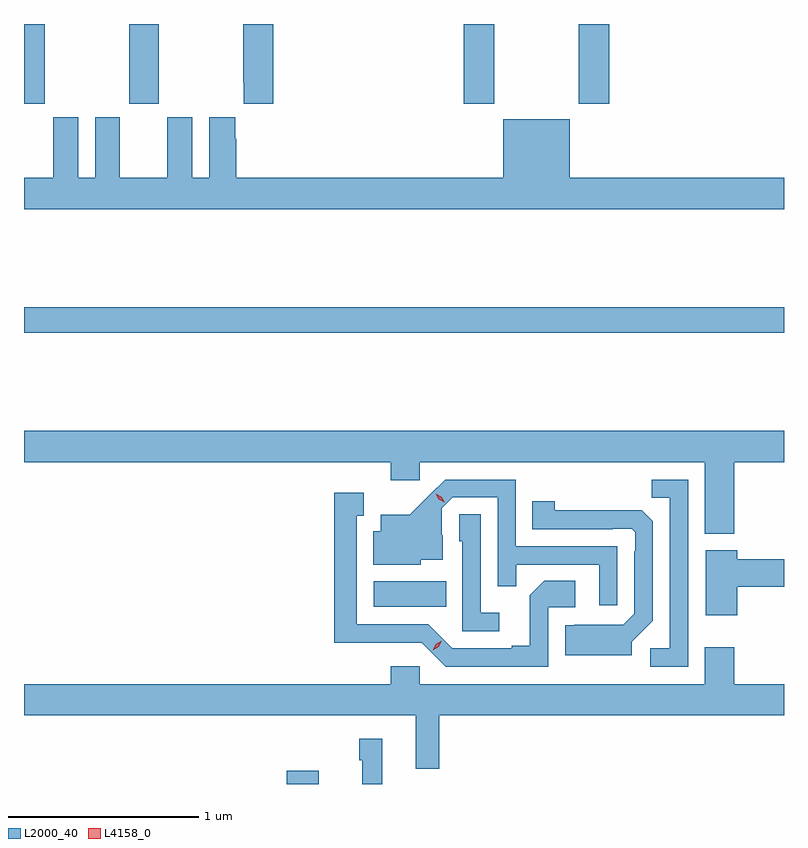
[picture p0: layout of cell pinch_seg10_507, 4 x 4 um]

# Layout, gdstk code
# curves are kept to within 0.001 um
import gdstk
lib = gdstk.Library(unit=1e-6, precision=1e-09)
def R(c, l, rs):  # rectangles x0, y0, x1, y1
    for r in rs: c.add(gdstk.rectangle(r[:2], r[2:], *l))
def P(c, l, *ps):  # polygons
    for p in ps: c.add(gdstk.Polygon(p, *l))
L2000_40 = (2000, 40)
L4158_0 = (4158, 0)

pinch_seg10_507 = lib.new_cell('pinch_seg10_507')
R(pinch_seg10_507, L2000_40, [(228.38,1263.99,228.55,1264.06), (228.84,1264.922,229.22,1265.056), (226.998,1266.364,230.998,1266.5), (226.998,1267.569,227.106,1267.99), (227.551,1267.569,227.706,1267.99), (229.313,1267.569,229.473,1267.99), (229.918,1267.569,230.078,1267.99)])
P(pinch_seg10_507, L2000_40, [(228.311,1267.99),(228.151,1267.99),(228.151,1267.681),(228.155,1267.681),(228.155,1267.569),(228.311,1267.569)],
  [(230.998,1267.18),(229.87,1267.18),(229.87,1267.489),(229.52,1267.489),(229.52,1267.18),(228.116,1267.18),(228.116,1267.385),(228.109,1267.385),(228.109,1267.498),(227.972,1267.498),(227.972,1267.18),(227.884,1267.18),(227.884,1267.498),(227.753,1267.498),(227.753,1267.18),(227.503,1267.18),(227.503,1267.498),(227.372,1267.498),(227.372,1267.18),(227.284,1267.18),(227.284,1267.498),(227.153,1267.498),(227.153,1267.18),(226.998,1267.18),(226.998,1267.016),(230.998,1267.016)],
  [(230.735,1265.684),(230.998,1265.684),(230.998,1265.848),(226.998,1265.848),(226.998,1265.684),(228.929,1265.684),(228.929,1265.589),(229.08,1265.589),(229.08,1265.684),(230.582,1265.684),(230.582,1265.306),(230.735,1265.306)],
  [(230.121,1265.241),(229.587,1265.241),(229.587,1265.592),(229.214,1265.592),(229.027,1265.407),(228.875,1265.407),(228.875,1265.32),(228.836,1265.32),(228.836,1265.144),(229.086,1265.144),(229.086,1265.171),(229.201,1265.171),(229.201,1265.3),(229.197,1265.3),(229.197,1265.442),(229.254,1265.499),(229.491,1265.499),(229.491,1265.032),(229.589,1265.032),(229.589,1265.145),(230.025,1265.145),(230.025,1264.932),(230.121,1264.932)],
  [(230.493,1265.592),(230.302,1265.592),(230.302,1265.497),(230.397,1265.497),(230.397,1264.704),(230.295,1264.704),(230.295,1264.608),(230.493,1264.608)],
  [(229.758,1264.92),(229.9,1264.92),(229.9,1265.06),(229.735,1265.06),(229.659,1264.984),(229.659,1264.717),(229.565,1264.717),(229.565,1264.704),(229.251,1264.704),(229.125,1264.83),(228.748,1264.83),(228.748,1265.403),(228.787,1265.403),(228.787,1265.524),(228.63,1265.524),(228.63,1264.733),(229.092,1264.734),(229.218,1264.608),(229.758,1264.608)],
  [(230.197,1264.74),(230.307,1264.85),(230.307,1265.372),(230.248,1265.431),(229.791,1265.432),(229.791,1265.479),(229.672,1265.479),(229.672,1265.331),(230.096,1265.331),(230.096,1265.334),(230.196,1265.334),(230.214,1265.316),(230.214,1265.216),(230.211,1265.216),(230.211,1264.887),(230.151,1264.827),(229.894,1264.828),(229.891,1264.825),(229.847,1264.825),(229.847,1264.667),(230.197,1264.667)],
  [(229.498,1264.891),(229.401,1264.891),(229.401,1265.411),(229.29,1265.411),(229.29,1265.268),(229.305,1265.268),(229.305,1264.794),(229.498,1264.794)],
  [(230.752,1265.027),(230.998,1265.027),(230.998,1265.174),(230.752,1265.174),(230.752,1265.221),(230.585,1265.221),(230.585,1264.878),(230.752,1264.878)],
  [(229.183,1264.352),(230.998,1264.352),(230.998,1264.516),(230.735,1264.516),(230.735,1264.711),(230.582,1264.711),(230.582,1264.516),(229.08,1264.516),(229.08,1264.609),(228.929,1264.609),(228.929,1264.516),(226.998,1264.516),(226.998,1264.352),(229.061,1264.352),(229.061,1264.071),(229.183,1264.071)],
  [(228.883,1264.228),(228.762,1264.228),(228.762,1264.115),(228.779,1264.115),(228.779,1263.99),(228.883,1263.99)])
P(pinch_seg10_507, L4158_0, [(229.212,1265.474),(229.181,1265.488),(229.164,1265.518),(229.164,1265.518),(229.164,1265.518),(229.195,1265.503),(229.212,1265.474),(229.212,1265.474)],
  [(229.148,1264.693),(229.148,1264.693),(229.165,1264.725),(229.197,1264.745),(229.197,1264.745),(229.197,1264.744),(229.18,1264.712),(229.148,1264.693)])

lib.write_gds('pinch_seg10_507.gds')
